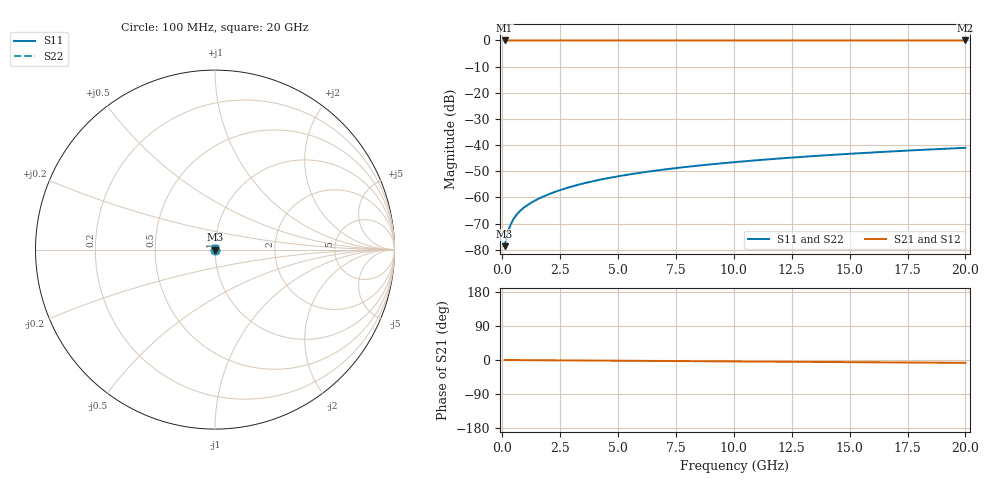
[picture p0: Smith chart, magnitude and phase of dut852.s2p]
! Touchstone file exported from HFSS 2026.1.0
!  File:  C:/ffzhzh/LocalFiles/Ansys_Project_Files/temp_train_TSV_852_1783185152_18472.aedt
!  Generated:  01:13:53 AM Jul  5, 2026
!  Design:  TSV
!  Project:  temp_train_TSV_852_1783185152_18472
! Variables:
!  h_bsmrdl = 2um
!  h_ox = 20um
!  h_rdl = 5um
!  h_sub = 72.05um
!  h_tmrdl = 5um
!  h_tsv = 72.05um
!  h_via = 3um
!  l_bsmrdl = 300um
!  l_sub = 425.06um
!  l_tmrdl = 200um
!  m_sub = 200um
!  pitch = 53.56um
!  r_tsv = 12.53um
!  s_tmrdl = 10um
!  w_bsmrdl = 18um
!  w_sub = 500um
!  w_tmrdl = 12um
!  x_tsv_center1 = 206um
!  x_tsv_center2 = 524um
!  x_tsv_center3 = 736um
!  x_tsv_center4 = 1054um
!  x_tsv_center5 = 1266um
!  x_tsv_center6 = 1584um
# GHz S MA R 50.000000
! Terminal data exported
! Port[1] = TSV1_1_T1
! Port[2] = TSV1_1_T2
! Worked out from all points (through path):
!   200 points, 100 MHz to 20 GHz, reference 50 ohm
!   highest |S21| = 0.00 dB at 100 MHz (marker M1); lowest = 0.0 dB at 20 GHz (marker M2)
!   group delay of S21, straight-line fit = 1.05 ps
!   lowest |S11| = -78.7 dB at 100 MHz (marker M3), VSWR 1.00, Z = 50 + j0.00812 ohm
!   |S11| at or under -10 dB: start of sweep to end of sweep
!   |S22| runs from -78.7 to -41.1 dB; largest |S21 - S12| = 4.1e-15
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0.1  0.0001166 44.1  0.9999 -0.0  0.9999 -0.0  0.0001166 44.1
! Gamma 0 0 0 0
! Port Impedance 50 0 50 0
0.2  0.0001856 59.2  0.9999 -0.1  0.9999 -0.1  0.0001856 59.2
0.3  0.0002584 64.4  0.9999 -0.1  0.9999 -0.1  0.0002584 64.4
0.4  0.0003283 66.4  0.9999 -0.2  0.9999 -0.2  0.0003283 66.4
0.5  0.0003939 67.2  0.9998 -0.2  0.9998 -0.2  0.0003939 67.2
0.6  0.0004552 67.6  0.9998 -0.2  0.9998 -0.2  0.0004552 67.6
0.7  0.0005126 67.9  0.9998 -0.3  0.9998 -0.3  0.0005126 67.9
0.9  0.0006191 68.5  0.9998 -0.3  0.9998 -0.3  0.0006191 68.5
1.1  0.0007186 69.3  0.9997 -0.4  0.9997 -0.4  0.0007186 69.3
1.3  0.0008147 70.1  0.9997 -0.5  0.9997 -0.5  0.0008147 70.1
1.6  0.0009561 71.3  0.9997 -0.6  0.9997 -0.6  0.0009561 71.3
1.9  0.001097 72.4  0.9997 -0.7  0.9997 -0.7  0.001097 72.4
2.6  0.001424 74.3  0.9996 -1.0  0.9996 -1.0  0.001424 74.3
3.5  0.001843 75.7  0.9996 -1.3  0.9996 -1.3  0.001843 75.7
4.2  0.002165 76.4  0.9995 -1.6  0.9995 -1.6  0.002165 76.4
5  0.002527 76.8  0.9995 -1.9  0.9995 -1.9  0.002527 76.8
6.8  0.003324 77.4  0.9994 -2.6  0.9994 -2.6  0.003324 77.4
8.3  0.003975 77.6  0.9993 -3.1  0.9993 -3.1  0.003975 77.6
10.1  0.004745 77.6  0.9993 -3.8  0.9993 -3.8  0.004745 77.6
13.4  0.00614 77.4  0.9992 -5.1  0.9992 -5.1  0.00614 77.4
16.7  0.007511 76.8  0.9991 -6.3  0.9991 -6.3  0.007511 76.8
20  0.008854 76.0  0.999 -7.5  0.999 -7.5  0.008854 76.0
